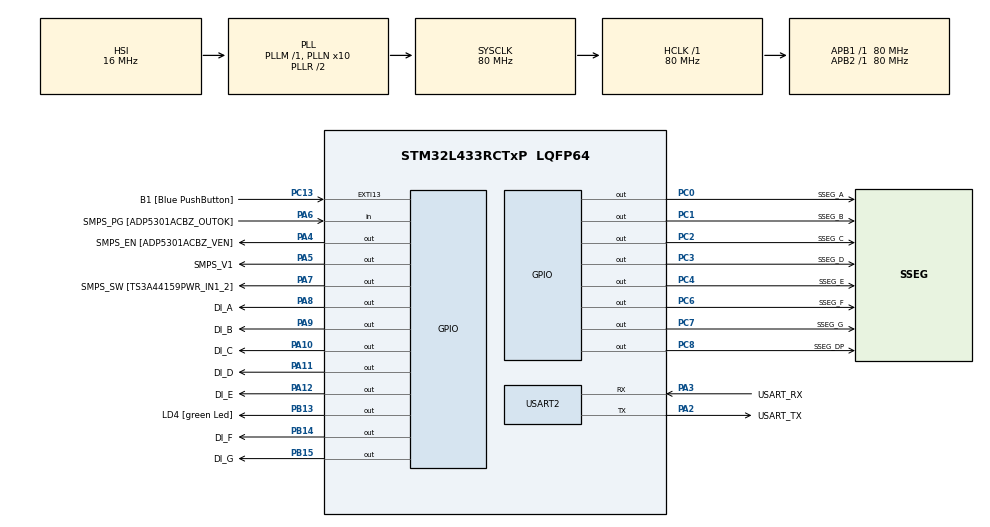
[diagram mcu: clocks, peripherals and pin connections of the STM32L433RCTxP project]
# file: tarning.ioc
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Mcu.Family=STM32L4
Mcu.Name=STM32L433RCTxP
Mcu.Package=LQFP64
NVIC.PriorityGroup=NVIC_PRIORITYGROUP_4
PA10.GPIO_Label=DI_C
PA10.Signal=GPIO_Output
PA11.GPIO_Label=DI_D
PA11.Signal=GPIO_Output
PA12.GPIO_Label=DI_E
PA12.Signal=GPIO_Output
PA13\ (JTMS-SWDIO).GPIO_Label=TMS
PA13\ (JTMS-SWDIO).Mode=Serial_Wire
PA13\ (JTMS-SWDIO).Signal=SYS_JTMS-SWDIO
PA14\ (JTCK-SWCLK).GPIO_Label=TCK
PA14\ (JTCK-SWCLK).Mode=Serial_Wire
PA14\ (JTCK-SWCLK).Signal=SYS_JTCK-SWCLK
PA2.GPIO_Label=USART_TX
PA2.GPIO_Mode=GPIO_MODE_AF_PP
PA2.GPIO_PuPd=GPIO_NOPULL
PA2.GPIO_Speed=GPIO_SPEED_FREQ_VERY_HIGH
PA2.Mode=Asynchronous
PA2.Signal=USART2_TX
PA3.GPIO_Label=USART_RX
PA3.GPIO_Mode=GPIO_MODE_AF_PP
PA3.GPIO_PuPd=GPIO_NOPULL
PA3.GPIO_Speed=GPIO_SPEED_FREQ_VERY_HIGH
PA3.Mode=Asynchronous
PA3.Signal=USART2_RX
PA4.GPIO_Label=SMPS_EN [ADP5301ACBZ_VEN]
PA4.Signal=GPIO_Output
PA5.GPIO_Label=SMPS_V1
PA5.GPIO_ModeDefaultOutputPP=GPIO_MODE_OUTPUT_PP
PA5.GPIO_PuPd=GPIO_NOPULL
PA5.GPIO_Speed=GPIO_SPEED_FREQ_LOW
PA5.Signal=GPIO_Output
PA6.GPIO_Label=SMPS_PG [ADP5301ACBZ_OUTOK]
PA6.GPIO_PuPd=GPIO_PULLUP
PA6.Signal=GPIO_Input
PA7.GPIO_Label=SMPS_SW [TS3A44159PWR_IN1_2]
PA7.Signal=GPIO_Output
PA8.GPIO_Label=DI_A
PA8.Signal=GPIO_Output
PA9.GPIO_Label=DI_B
PA9.Signal=GPIO_Output
PB13.GPIO_Label=LD4 [green Led]
PB13.Signal=GPIO_Output
PB14.GPIO_Label=DI_F
PB14.Signal=GPIO_Output
PB15.GPIO_Label=DI_G
PB15.Signal=GPIO_Output
PB3\ (JTDO-TRACESWO).GPIO_Label=SWO
PB3\ (JTDO-TRACESWO).Signal=SYS_JTDO-SWO
PC0.GPIO_Label=SSEG_A
PC0.Signal=GPIO_Output
PC1.GPIO_Label=SSEG_B
PC1.Signal=GPIO_Output
PC13.GPIO_Label=B1 [Blue PushButton]
PC13.GPIO_ModeDefaultEXTI=GPIO_MODE_IT_FALLING
PC13.GPIO_PuPd=GPIO_NOPULL
PC13.Signal=GPXTI13
PC14-OSC32_IN\ (PC14).Mode=LSE-External-Oscillator
PC14-OSC32_IN\ (PC14).Signal=RCC_OSC32_IN
PC15-OSC32_OUT\ (PC15).Mode=LSE-External-Oscillator
PC15-OSC32_OUT\ (PC15).Signal=RCC_OSC32_OUT
PC2.GPIO_Label=SSEG_C
PC2.Signal=GPIO_Output
PC3.GPIO_Label=SSEG_D
PC3.Signal=GPIO_Output
PC4.GPIO_Label=SSEG_E
PC4.Signal=GPIO_Output
PC6.GPIO_Label=SSEG_F
PC6.Signal=GPIO_Output
PC7.GPIO_Label=SSEG_G
PC7.Signal=GPIO_Output
PC8.GPIO_Label=SSEG_DP
PC8.Signal=GPIO_Output
PH0-OSC_IN\ (PH0).GPIO_Label=MCO
PH0-OSC_IN\ (PH0).Mode=HSE-External-Clock-Source
PH0-OSC_IN\ (PH0).Signal=RCC_OSC_IN
PH1-OSC_OUT\ (PH1).Signal=RCC_OSC_OUT
ProjectManager.HeapSize=0x200
ProjectManager.StackSize=0x400
ProjectManager.TargetToolchain=STM32CubeIDE
RCC.ADCFreq_Value=64000000
RCC.AHBFreq_Value=80000000
RCC.APB1Freq_Value=80000000
RCC.APB1TimFreq_Value=80000000
RCC.APB2Freq_Value=80000000
RCC.APB2TimFreq_Value=80000000
RCC.CortexFreq_Value=80000000
RCC.HCLKFreq_Value=80000000
RCC.HSE_VALUE=8000000
RCC.HSI48_VALUE=48000000
RCC.HSI_VALUE=16000000
RCC.MSI_VALUE=4000000
RCC.PLLN=10
RCC.PLLSourceVirtual=RCC_PLLSOURCE_HSI
RCC.PREFETCH_ENABLE=1
RCC.SYSCLKFreq_VALUE=80000000
RCC.SYSCLKSource=RCC_SYSCLKSOURCE_PLLCLK
RCC.USBFreq_Value=64000000
RCC.VCOOutputFreq_Value=160000000
USART2.VirtualMode-Asynchronous=VM_ASYNC
board=NUCLEO-L433RC-P

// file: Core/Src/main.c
/* USER CODE BEGIN Header */
/**
  ******************************************************************************
  * @file           : main.c
  * @brief          : Main program body
  ******************************************************************************
  * @attention
  *
  * Copyright (c) 2026 STMicroelectronics.
  * All rights reserved.
  *
  * This software is licensed under terms that can be found in the LICENSE file
  * in the root directory of this software component.
  * If no LICENSE file comes with this software, it is provided AS-IS.
  *
  ******************************************************************************
  */
/* USER CODE END Header */
#include "main.h"

UART_HandleTypeDef huart2;

/* USER CODE BEGIN PV */

const uint16_t sseg[10] = {
    0x05F, // 0
    0x006, // 1
    0x09B, // 2
    0x08F, // 3
    0x0C6, // 4
    0x0CD, // 5
    0x0DD, // 6
    0x007, // 7
    0x0DF, // 8
    0x0CF  // 9
};

const uint16_t sseg_err = 0x1AC;

/* USER CODE END PV */

void SystemClock_Config(void);
static void MX_GPIO_Init(void);
static void MX_USART2_UART_Init(void);

/* USER CODE BEGIN 0 */

// Kontrollerar om den blå knappen är nedtryckt
int is_button_pressed(void)
{
    uint32_t reg_reading = GPIOC->IDR;

    // Läser bara PC13
    return (reg_reading & GPIO_PIN_13) != 0;
}

// Visar rätt prickar för tärningsvärdet
void put_die_dots(uint8_t die_nbr)
{
    // Släck alla LED först
    HAL_GPIO_WritePin(DI_A_GPIO_Port, DI_A_Pin, GPIO_PIN_RESET);
    HAL_GPIO_WritePin(DI_B_GPIO_Port, DI_B_Pin, GPIO_PIN_RESET);
    HAL_GPIO_WritePin(DI_C_GPIO_Port, DI_C_Pin, GPIO_PIN_RESET);
    HAL_GPIO_WritePin(DI_D_GPIO_Port, DI_D_Pin, GPIO_PIN_RESET);
    HAL_GPIO_WritePin(DI_E_GPIO_Port, DI_E_Pin, GPIO_PIN_RESET);
    HAL_GPIO_WritePin(DI_F_GPIO_Port, DI_F_Pin, GPIO_PIN_RESET);
    HAL_GPIO_WritePin(DI_G_GPIO_Port, DI_G_Pin, GPIO_PIN_RESET);

    switch (die_nbr)
    {
        case 1:
            HAL_GPIO_WritePin(DI_E_GPIO_Port, DI_E_Pin, GPIO_PIN_SET);
            break;

        case 2:
            HAL_GPIO_WritePin(DI_A_GPIO_Port, DI_A_Pin, GPIO_PIN_SET);
            HAL_GPIO_WritePin(DI_G_GPIO_Port, DI_G_Pin, GPIO_PIN_SET);
            break;

        case 3:
            HAL_GPIO_WritePin(DI_A_GPIO_Port, DI_A_Pin, GPIO_PIN_SET);
            HAL_GPIO_WritePin(DI_E_GPIO_Port, DI_E_Pin, GPIO_PIN_SET);
            HAL_GPIO_WritePin(DI_G_GPIO_Port, DI_G_Pin, GPIO_PIN_SET);
            break;

        case 4:
            HAL_GPIO_WritePin(DI_A_GPIO_Port, DI_A_Pin, GPIO_PIN_SET);
            HAL_GPIO_WritePin(DI_B_GPIO_Port, DI_B_Pin, GPIO_PIN_SET);
            HAL_GPIO_WritePin(DI_F_GPIO_Port, DI_F_Pin, GPIO_PIN_SET);
            HAL_GPIO_WritePin(DI_G_GPIO_Port, DI_G_Pin, GPIO_PIN_SET);
            break;

        case 5:
            HAL_GPIO_WritePin(DI_A_GPIO_Port, DI_A_Pin, GPIO_PIN_SET);
            HAL_GPIO_WritePin(DI_B_GPIO_Port, DI_B_Pin, GPIO_PIN_SET);
            HAL_GPIO_WritePin(DI_E_GPIO_Port, DI_E_Pin, GPIO_PIN_SET);
            HAL_GPIO_WritePin(DI_F_GPIO_Port, DI_F_Pin, GPIO_PIN_SET);
            HAL_GPIO_WritePin(DI_G_GPIO_Port, DI_G_Pin, GPIO_PIN_SET);
            break;

        case 6:
            HAL_GPIO_WritePin(DI_A_GPIO_Port, DI_A_Pin, GPIO_PIN_SET);
            HAL_GPIO_WritePin(DI_B_GPIO_Port, DI_B_Pin, GPIO_PIN_SET);
            HAL_GPIO_WritePin(DI_C_GPIO_Port, DI_C_Pin, GPIO_PIN_SET);
            HAL_GPIO_WritePin(DI_D_GPIO_Port, DI_D_Pin, GPIO_PIN_SET);
            HAL_GPIO_WritePin(DI_F_GPIO_Port, DI_F_Pin, GPIO_PIN_SET);
            HAL_GPIO_WritePin(DI_G_GPIO_Port, DI_G_Pin, GPIO_PIN_SET);
            break;

        default:
            // Fel värde: tänd alla LED
            HAL_GPIO_WritePin(DI_A_GPIO_Port, DI_A_Pin, GPIO_PIN_SET);
            HAL_GPIO_WritePin(DI_B_GPIO_Port, DI_B_Pin, GPIO_PIN_SET);
            HAL_GPIO_WritePin(DI_C_GPIO_Port, DI_C_Pin, GPIO_PIN_SET);
            HAL_GPIO_WritePin(DI_D_GPIO_Port, DI_D_Pin, GPIO_PIN_SET);
            HAL_GPIO_WritePin(DI_E_GPIO_Port, DI_E_Pin, GPIO_PIN_SET);
            HAL_GPIO_WritePin(DI_F_GPIO_Port, DI_F_Pin, GPIO_PIN_SET);
            HAL_GPIO_WritePin(DI_G_GPIO_Port, DI_G_Pin, GPIO_PIN_SET);
            break;
    }
}

// Visar en siffra på 7-segmentdisplayen
void put_on_sseg(uint8_t dec_nbr)
{
    uint16_t value;

    if (dec_nbr <= 9)
    {
        value = sseg[dec_nbr];
    }
    else
    {
        value = sseg_err;
    }

    GPIOC->ODR = (GPIOC->ODR & ~0x1DF) | value;
}

/* USER CODE END 0 */

int main(void)
{

  /* USER CODE BEGIN 1 */
	uint8_t die_value = 1;

  /* USER CODE END 1 */

  /* MCU Configuration--------------------------------------------------------*/

  /* Reset of all peripherals, Initializes the Flash interface and the Systick. */
  HAL_Init();

  /* Configure the system clock */
  SystemClock_Config();

  /* Initialize all configured peripherals */
  MX_GPIO_Init();
  MX_USART2_UART_Init();
  /* USER CODE BEGIN 2 */

  // Visar tärningens startvärde
  put_die_dots(die_value);
  put_on_sseg(die_value);

  /*
  // Testar siffrorna 0 till 9 på 7-segmentdisplayen
  for (uint8_t i = 0; i <= 9; i++)
  {
      put_on_sseg(i);
      HAL_Delay(1000);
  }

  put_on_sseg(88); // Visar felmönstret
*/

  /* USER CODE END 2 */

  /* Infinite loop */
  /* USER CODE BEGIN WHILE */
  while (1)
  {
	    if (is_button_pressed())
	    {
	        // Rulla tärningen

	    	HAL_GPIO_WritePin(LD4_GPIO_Port, LD4_Pin, GPIO_PIN_SET);

	        die_value++;

	        if (die_value > 6)
	        {
	            die_value = 1;
	        }

	        put_die_dots(die_value);
	        put_on_sseg(die_value);

	        HAL_Delay(1);
		}
	    else
	    {
			// Släck LD4 när knappen inte är nedtryckt
			HAL_GPIO_WritePin(LD4_GPIO_Port, LD4_Pin, GPIO_PIN_RESET);
		}

    /* USER CODE END WHILE */

  }
}

void SystemClock_Config(void)
{
  RCC_OscInitTypeDef RCC_OscInitStruct = {0};
  RCC_ClkInitTypeDef RCC_ClkInitStruct = {0};

  /** Configure the main internal regulator output voltage
  */
  if (HAL_PWREx_ControlVoltageScaling(PWR_REGULATOR_VOLTAGE_SCALE1) != HAL_OK)
  {
    Error_Handler();
  }

  /** Initializes the RCC Oscillators according to the specified parameters
  * in the RCC_OscInitTypeDef structure.
  */
  RCC_OscInitStruct.OscillatorType = RCC_OSCILLATORTYPE_HSI;
  RCC_OscInitStruct.HSIState = RCC_HSI_ON;
  RCC_OscInitStruct.HSICalibrationValue = RCC_HSICALIBRATION_DEFAULT;
  RCC_OscInitStruct.PLL.PLLState = RCC_PLL_ON;
  RCC_OscInitStruct.PLL.PLLSource = RCC_PLLSOURCE_HSI;
  RCC_OscInitStruct.PLL.PLLM = 1;
  RCC_OscInitStruct.PLL.PLLN = 10;
  RCC_OscInitStruct.PLL.PLLP = RCC_PLLP_DIV7;
  RCC_OscInitStruct.PLL.PLLQ = RCC_PLLQ_DIV2;
  RCC_OscInitStruct.PLL.PLLR = RCC_PLLR_DIV2;
  if (HAL_RCC_OscConfig(&RCC_OscInitStruct) != HAL_OK)
  {
    Error_Handler();
  }

  /** Initializes the CPU, AHB and APB buses clocks
  */
  RCC_ClkInitStruct.ClockType = RCC_CLOCKTYPE_HCLK|RCC_CLOCKTYPE_SYSCLK
                              |RCC_CLOCKTYPE_PCLK1|RCC_CLOCKTYPE_PCLK2;
  RCC_ClkInitStruct.SYSCLKSource = RCC_SYSCLKSOURCE_PLLCLK;
  RCC_ClkInitStruct.AHBCLKDivider = RCC_SYSCLK_DIV1;
  RCC_ClkInitStruct.APB1CLKDivider = RCC_HCLK_DIV1;
  RCC_ClkInitStruct.APB2CLKDivider = RCC_HCLK_DIV1;

  if (HAL_RCC_ClockConfig(&RCC_ClkInitStruct, FLASH_LATENCY_4) != HAL_OK)
  {
    Error_Handler();
  }
}

static void MX_USART2_UART_Init(void)
{

  huart2.Instance = USART2;
  huart2.Init.BaudRate = 115200;
  huart2.Init.WordLength = UART_WORDLENGTH_8B;
  huart2.Init.StopBits = UART_STOPBITS_1;
  huart2.Init.Parity = UART_PARITY_NONE;
  huart2.Init.Mode = UART_MODE_TX_RX;
  huart2.Init.HwFlowCtl = UART_HWCONTROL_NONE;
  huart2.Init.OverSampling = UART_OVERSAMPLING_16;
  huart2.Init.OneBitSampling = UART_ONE_BIT_SAMPLE_DISABLE;
  huart2.AdvancedInit.AdvFeatureInit = UART_ADVFEATURE_NO_INIT;
  if (HAL_UART_Init(&huart2) != HAL_OK)
  {
    Error_Handler();
  }

}

static void MX_GPIO_Init(void)
{
  GPIO_InitTypeDef GPIO_InitStruct = {0};

  /* GPIO Ports Clock Enable */
  __HAL_RCC_GPIOC_CLK_ENABLE();
  __HAL_RCC_GPIOH_CLK_ENABLE();
  __HAL_RCC_GPIOA_CLK_ENABLE();
  __HAL_RCC_GPIOB_CLK_ENABLE();

  /*Configure GPIO pin Output Level */
  HAL_GPIO_WritePin(GPIOC, SSEG_A_Pin|SSEG_B_Pin|SSEG_C_Pin|SSEG_D_Pin
                          |SSEG_E_Pin|SSEG_F_Pin|SSEG_G_Pin|SSEG_DP_Pin, GPIO_PIN_RESET);

  /*Configure GPIO pin Output Level */
  HAL_GPIO_WritePin(GPIOA, SMPS_EN_Pin|SMPS_V1_Pin|SMPS_SW_Pin|DI_A_Pin
                          |DI_B_Pin|DI_C_Pin|DI_D_Pin|DI_E_Pin, GPIO_PIN_RESET);

  /*Configure GPIO pin Output Level */
  HAL_GPIO_WritePin(GPIOB, LD4_Pin|DI_F_Pin|DI_G_Pin, GPIO_PIN_RESET);

  /*Configure GPIO pin : B1_Pin */
  GPIO_InitStruct.Pin = B1_Pin;
  GPIO_InitStruct.Mode = GPIO_MODE_IT_FALLING;
  GPIO_InitStruct.Pull = GPIO_NOPULL;
  HAL_GPIO_Init(B1_GPIO_Port, &GPIO_InitStruct);

  /*Configure GPIO pins : SSEG_A_Pin SSEG_B_Pin SSEG_C_Pin SSEG_D_Pin
                           SSEG_E_Pin SSEG_F_Pin SSEG_G_Pin SSEG_DP_Pin */
  GPIO_InitStruct.Pin = SSEG_A_Pin|SSEG_B_Pin|SSEG_C_Pin|SSEG_D_Pin
                          |SSEG_E_Pin|SSEG_F_Pin|SSEG_G_Pin|SSEG_DP_Pin;
  GPIO_InitStruct.Mode = GPIO_MODE_OUTPUT_PP;
  GPIO_InitStruct.Pull = GPIO_NOPULL;
  GPIO_InitStruct.Speed = GPIO_SPEED_FREQ_LOW;
  HAL_GPIO_Init(GPIOC, &GPIO_InitStruct);

  /*Configure GPIO pins : SMPS_EN_Pin SMPS_V1_Pin SMPS_SW_Pin DI_A_Pin
                           DI_B_Pin DI_C_Pin DI_D_Pin DI_E_Pin */
  GPIO_InitStruct.Pin = SMPS_EN_Pin|SMPS_V1_Pin|SMPS_SW_Pin|DI_A_Pin
                          |DI_B_Pin|DI_C_Pin|DI_D_Pin|DI_E_Pin;
  GPIO_InitStruct.Mode = GPIO_MODE_OUTPUT_PP;
  GPIO_InitStruct.Pull = GPIO_NOPULL;
  GPIO_InitStruct.Speed = GPIO_SPEED_FREQ_LOW;
  HAL_GPIO_Init(GPIOA, &GPIO_InitStruct);

  /*Configure GPIO pin : SMPS_PG_Pin */
  GPIO_InitStruct.Pin = SMPS_PG_Pin;
  GPIO_InitStruct.Mode = GPIO_MODE_INPUT;
  GPIO_InitStruct.Pull = GPIO_PULLUP;
  HAL_GPIO_Init(SMPS_PG_GPIO_Port, &GPIO_InitStruct);

  /*Configure GPIO pins : LD4_Pin DI_F_Pin DI_G_Pin */
  GPIO_InitStruct.Pin = LD4_Pin|DI_F_Pin|DI_G_Pin;
  GPIO_InitStruct.Mode = GPIO_MODE_OUTPUT_PP;
  GPIO_InitStruct.Pull = GPIO_NOPULL;
  GPIO_InitStruct.Speed = GPIO_SPEED_FREQ_LOW;
  HAL_GPIO_Init(GPIOB, &GPIO_InitStruct);

}

void Error_Handler(void)
{
  __disable_irq();
  while (1)
  {
  }
}
